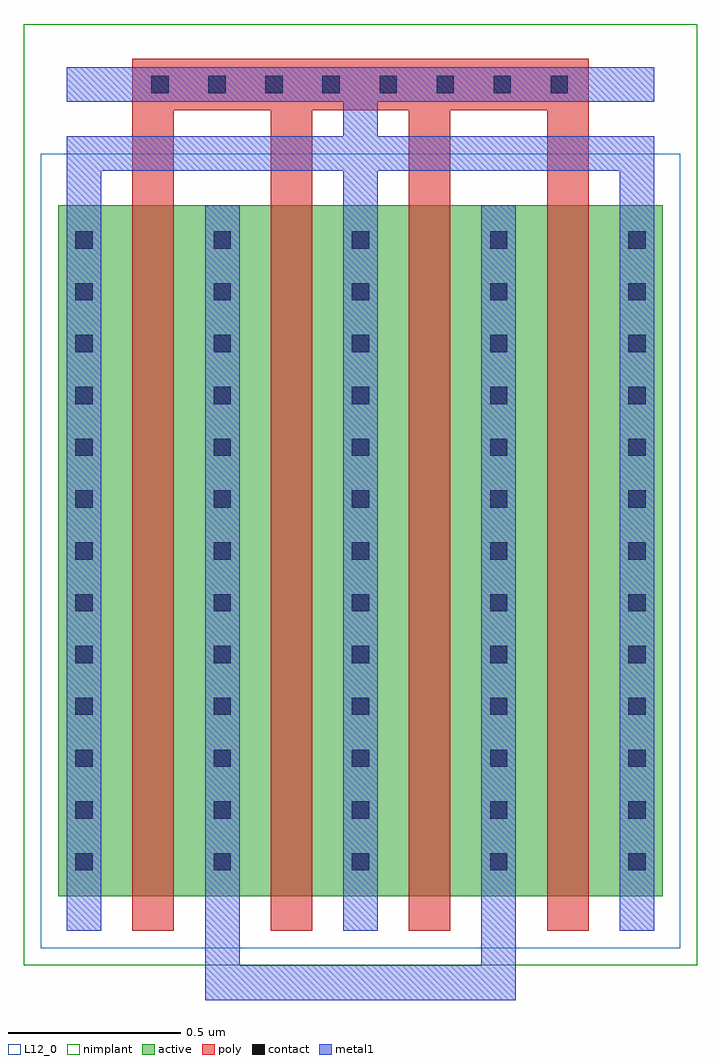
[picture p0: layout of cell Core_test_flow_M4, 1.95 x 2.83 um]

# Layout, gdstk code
import gdstk
lib = gdstk.Library(unit=1e-6, precision=1e-09)
def R(c, l, rs):  # rectangles x0, y0, x1, y1
    for r in rs: c.add(gdstk.rectangle(r[:2], r[2:], *l))
def A(c, l, x, y, w, h, nx, ny, dx, dy):  # array of equal rectangles
    R(c, l, [(x+i*dx, y+j*dy, x+i*dx+w, y+j*dy+h) for i in range(nx) for j in range(ny)])
active = (6, 0)
L12_0 = (12, 0)
poly = (17, 0)
nimplant = (26, 0)
contact = (30, 0)
metal1 = (31, 0)

core_test_flow_m4 = lib.new_cell('Core_test_flow_M4')
R(core_test_flow_m4, active, [(-0.075,0.05,1.675,2.05)])
R(core_test_flow_m4, L12_0, [(-0.125,-0.1,1.725,2.2)])
A(core_test_flow_m4, poly, 0.14, -0.05, 0.12, 2.2, 4, 1, 0.4, 0)
A(core_test_flow_m4, poly, 0.14, 2.05, 0.12, 0.3, 4, 1, 0.4, 0)
R(core_test_flow_m4, poly, [(0.14,2.325,1.46,2.475)])
R(core_test_flow_m4, nimplant, [(-0.175,-0.15,1.775,2.575)])
A(core_test_flow_m4, contact, -0.025, 0.125, 0.05, 0.05, 5, 13, 0.4, 0.15)
A(core_test_flow_m4, contact, 0.195, 2.375, 0.05, 0.05, 8, 1, 0.165, 0)
A(core_test_flow_m4, metal1, -0.05, -0.05, 0.1, 2.1, 5, 1, 0.4, 0)
A(core_test_flow_m4, metal1, -0.05, 0.05, 0.1, 2, 5, 1, 0.4, 0)
A(core_test_flow_m4, metal1, -0.05, 2.05, 0.1, 0.1, 3, 1, 0.8, 0)
R(core_test_flow_m4, metal1, [(0.35,-0.25,1.25,-0.15), (0.35,-0.15,0.45,-0.05), (1.15,-0.15,1.25,-0.05), (-0.05,2.15,1.65,2.25), (0.75,2.15,0.85,2.45), (-0.05,2.35,1.65,2.45), (0.14,2.35,1.46,2.45)])

lib.write_gds('Core_test_flow_M4.gds')
